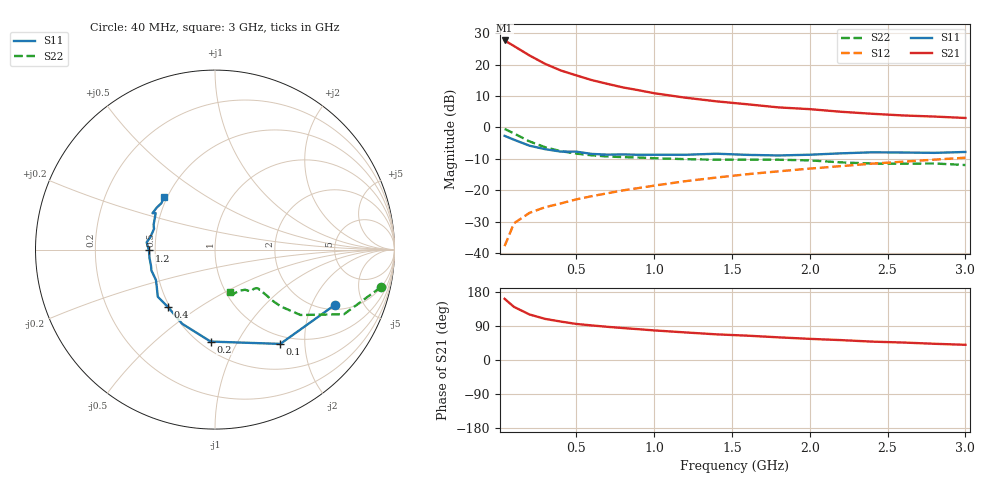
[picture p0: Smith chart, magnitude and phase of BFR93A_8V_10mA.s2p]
! Filename:  BFR93AF.S2P  Version:  2.0
! Philips part #: BFR93A  Date: May 1990
! Bias condition: Vce=8V, Ic=10mA
#  MHz  S  MA  R  50
! Freq  S11  S21  S12  S22  !GUM [dB]
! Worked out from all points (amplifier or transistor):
!   21 points, 40 MHz to 3 GHz, reference 50 ohm
!   highest |S21| = 27.7 dB at 40 MHz (marker M1)
!   |S21| within 3 dB of that: start of sweep to 141.1 MHz
!   unconditionally stable (mu >= 1): 931.9 MHz to 2.757 GHz
!   at 300 MHz: K = 0.66, MSG = 22.8 dB, |S12| = -25.4 dB
!   at 1 GHz: K = 1.02, MAG = 13.9 dB, |S12| = -18.5 dB
!   at 3 GHz: K = 0.99, MSG = 6.3 dB, |S12| = -9.6 dB
!   S11 on the Smith chart (normalised r, x): 40 MHz: 2.24, -3.01; 100 MHz: 0.87, -1.54; 200 MHz: 0.56, -0.78; 400 MHz: 0.49, -0.38; 1.2 GHz: 0.46, -0.00; 3 GHz: 0.48, +0.34
40  0.736 -24.7  24.13 161.4  0.013 77.8  0.948 -12.7
100  0.639 -55.3  19.7 140.2  0.03 65.6  0.804 -26.6
200  0.513 -92.7  13.93 120.1  0.044 58.4  0.6 -37.4
300  0.452 -113.9  10.26 108.5  0.054 57.0  0.486 -40.8
400  0.414 -129.2  8.059 101.5  0.062 58.5  0.421 -41.7
500  0.413 -140.5  6.731 95.2  0.072 60.1  0.384 -41.6
600  0.38 -149.0  5.659 91.2  0.081 61.7  0.361 -41.7
700  0.37 -152.9  4.933 87.6  0.09 64.4  0.346 -41.7
800  0.373 -161.9  4.329 84.3  0.1 65.1  0.338 -41.5
900  0.368 -165.5  3.911 81.3  0.109 66.5  0.333 -42.0
1000  0.368 -172.8  3.506 78.1  0.119 66.7  0.325 -42.0
1200  0.368 -179.3  2.975 72.8  0.14 67.7  0.314 -43.1
1400  0.383 173.9  2.603 67.7  0.16 67.7  0.307 -45.7
1600  0.367 169.3  2.335 64.2  0.181 68.5  0.308 -47.4
1800  0.359 161.2  2.083 59.8  0.201 67.7  0.307 -49.0
2000  0.369 157.9  1.955 55.8  0.222 67.5  0.3 -50.4
2200  0.388 148.4  1.777 52.5  0.243 67.9  0.279 -53.2
2400  0.403 149.8  1.651 48.5  0.266 66.3  0.267 -59.4
2600  0.4 144.1  1.552 46.1  0.286 65.5  0.266 -64.9
2800  0.395 138.9  1.491 42.8  0.308 64.4  0.268 -67.8
3000  0.408 134.4  1.415 40.1  0.331 63.2  0.253 -70.5
